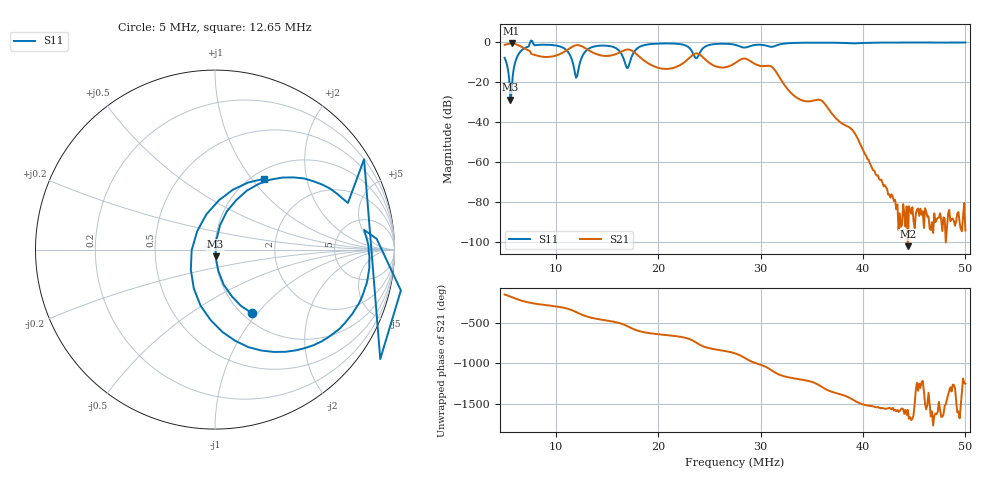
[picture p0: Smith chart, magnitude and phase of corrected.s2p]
! S11/S21 only; reverse parameters are placeholders. Device calibration unverified.
! [Saver CAL applied] C:\Users\aknya\MyProjects\rf-simulator\calibration2.cal | Ideal standards assumed | Input: NanoVNA F V2 profile | COM3 | 2026-09-08T12:32:03.0273155-04:00 | device calibration unverified
# HZ S RI R 50
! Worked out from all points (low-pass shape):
!   401 points, 5 MHz to 50 MHz, reference 50 ohm
!   highest |S21| = -0.65 dB at 5.675 MHz (marker M1); lowest = -101.8 dB at 44.38 MHz (marker M2)
!   |S21| within 3 dB of the highest: start of sweep to 7.143 MHz; 11.19 MHz to 13.09 MHz (1.904 MHz wide, 15.7 % of centre)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
!   lowest |S11| = -28.7 dB at 5.562 MHz (marker M3), VSWR 1.08, Z = 50.1 - j3.69 ohm
!   |S11| at or under -10 dB: 5.157 MHz to 6.042 MHz (884.4 kHz wide, 15.8 % of centre); 11.65 MHz to 12.38 MHz (731.3 kHz wide, 6.09 % of centre); 16.74 MHz to 17.23 MHz (494.5 kHz wide, 2.91 % of centre)
!   S12 and S22 are empty: the file has one direction only
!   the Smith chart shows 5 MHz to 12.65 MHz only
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5000000  0.2034 -0.3524  -0.716 -0.4653  0 0  0 0
5562500  0.00284 -0.0368  -0.9171 -0.1212  0 0  0 0
5675000  0.00718 0.0533  -0.9276 -0.0295  0 0  0 0
6575000  0.437 0.4023  -0.6008 0.5045  0 0  0 0
7700000  1.036 -0.2275  -0.1448 0.478  0 0  0 0
1.09625e7  0.3275 -0.5701  0.4366 0.4161  0 0  0 0
1.1975e7  -0.1299 -0.00263  0.8359 -0.0471  0 0  0 0
1.25375e7  0.1858 0.3742  0.6375 -0.4714  0 0  0 0
1.4675e7  0.8043 -0.175  -0.1018 -0.445  0 0  0 0
1.61375e7  0.303 -0.5522  -0.4014 -0.3569  0 0  0 0
1.6925e7  -0.2204 -0.0663  -0.6504 -0.0558  0 0  0 0
1.7825e7  0.3589 0.5475  -0.3498 0.3813  0 0  0 0
2.0075e7  0.924 0.00567  0.0382 0.2233  0 0  0 0
2.35625e7  0.3615 -0.2352  0.5065 -0.095  0 0  0 0
2.75e7  0.7271 -0.4582  -0.2732 -0.1215  0 0  0 0
2.89625e7  0.7219 -0.3419  -0.1238 0.3186  0 0  0 0
3.0875e7  0.6433 -0.4365  0.2522 0.0472  0 0  0 0
3.50375e7  0.6997 -0.6712  -0.03 -0.0163  0 0  0 0
3.8975e7  0.5331 -0.7628  0.00631 -0.000926  0 0  0 0
4.2575e7  0.4421 -0.8712  -5.42e-05 -0.000149  0 0  0 0
4.4375e7  0.3713 -0.9064  -5.89e-06 -5.53e-06  0 0  0 0
5e7  0.1584 -0.967  -1.98e-05 -2.25e-06  0 0  0 0
